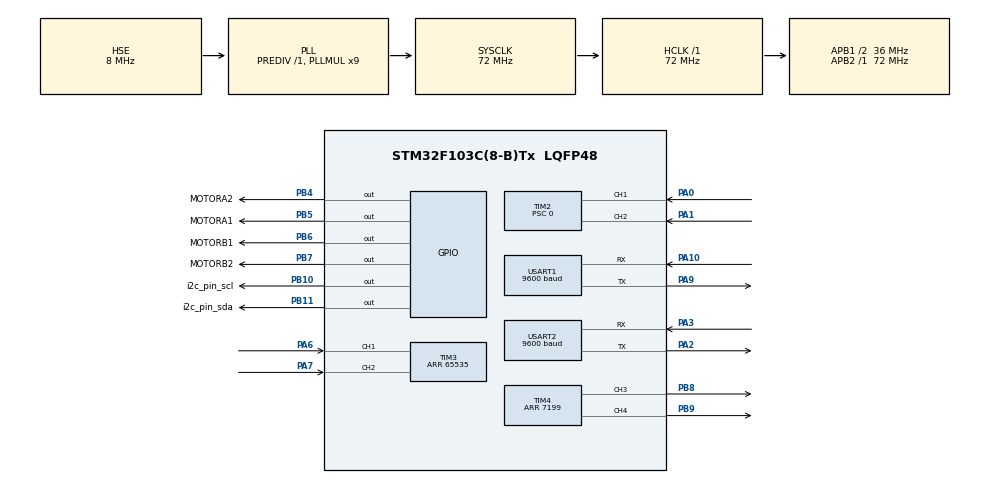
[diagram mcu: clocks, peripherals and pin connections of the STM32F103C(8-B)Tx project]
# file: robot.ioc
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Dma.Request0=USART2_RX
Dma.Request1=USART2_TX
Dma.USART2_RX.0.Direction=DMA_PERIPH_TO_MEMORY
Dma.USART2_RX.0.Instance=DMA1_Channel6
Dma.USART2_RX.0.MemDataAlignment=DMA_MDATAALIGN_BYTE
Dma.USART2_RX.0.MemInc=DMA_MINC_ENABLE
Dma.USART2_RX.0.Mode=DMA_NORMAL
Dma.USART2_RX.0.PeriphDataAlignment=DMA_PDATAALIGN_BYTE
Dma.USART2_RX.0.PeriphInc=DMA_PINC_DISABLE
Dma.USART2_RX.0.Priority=DMA_PRIORITY_LOW
Dma.USART2_TX.1.Direction=DMA_MEMORY_TO_PERIPH
Dma.USART2_TX.1.Instance=DMA1_Channel7
Dma.USART2_TX.1.MemDataAlignment=DMA_MDATAALIGN_BYTE
Dma.USART2_TX.1.MemInc=DMA_MINC_ENABLE
Dma.USART2_TX.1.Mode=DMA_NORMAL
Dma.USART2_TX.1.PeriphDataAlignment=DMA_PDATAALIGN_BYTE
Dma.USART2_TX.1.PeriphInc=DMA_PINC_DISABLE
Dma.USART2_TX.1.Priority=DMA_PRIORITY_LOW
Mcu.Family=STM32F1
Mcu.Name=STM32F103C(8-B)Tx
Mcu.Package=LQFP48
NVIC.DMA1_Channel6_IRQn=true\:0\:0\:false\:false\:true\:false
NVIC.DMA1_Channel7_IRQn=true\:0\:0\:false\:false\:true\:false
NVIC.PriorityGroup=NVIC_PRIORITYGROUP_4
NVIC.USART1_IRQn=true\:0\:0\:false\:false\:true\:true
NVIC.USART2_IRQn=true\:0\:0\:false\:false\:true\:true
PA0-WKUP.Signal=S_TIM2_CH1_ETR
PA1.Signal=S_TIM2_CH2
PA10.Mode=Asynchronous
PA10.Signal=USART1_RX
PA13.Mode=Trace_Asynchronous_SW
PA13.Signal=SYS_JTMS-SWDIO
PA14.Mode=Trace_Asynchronous_SW
PA14.Signal=SYS_JTCK-SWCLK
PA2.Mode=Asynchronous
PA2.Signal=USART2_TX
PA3.Mode=Asynchronous
PA3.Signal=USART2_RX
PA6.Signal=S_TIM3_CH1
PA7.Signal=S_TIM3_CH2
PA9.Mode=Asynchronous
PA9.Signal=USART1_TX
PB10.GPIO_Label=i2c_pin_scl
PB10.GPIO_ModeDefaultOutputPP=GPIO_MODE_OUTPUT_OD
PB10.GPIO_Speed=GPIO_SPEED_FREQ_HIGH
PB10.Signal=GPIO_Output
PB11.GPIO_Label=i2c_pin_sda
PB11.GPIO_ModeDefaultOutputPP=GPIO_MODE_OUTPUT_OD
PB11.GPIO_Speed=GPIO_SPEED_FREQ_HIGH
PB11.Signal=GPIO_Output
PB3.Mode=Trace_Asynchronous_SW
PB3.Signal=SYS_JTDO-TRACESWO
PB4.GPIO_Label=MOTORA2
PB4.GPIO_Speed=GPIO_SPEED_FREQ_HIGH
PB4.Signal=GPIO_Output
PB5.GPIO_Label=MOTORA1
PB5.GPIO_Speed=GPIO_SPEED_FREQ_HIGH
PB5.Signal=GPIO_Output
PB6.GPIO_Label=MOTORB1
PB6.GPIO_Speed=GPIO_SPEED_FREQ_HIGH
PB6.Signal=GPIO_Output
PB7.GPIO_Label=MOTORB2
PB7.GPIO_Speed=GPIO_SPEED_FREQ_HIGH
PB7.Signal=GPIO_Output
PB8.Signal=S_TIM4_CH3
PB9.Signal=S_TIM4_CH4
PD0-OSC_IN.Mode=HSE-External-Oscillator
PD0-OSC_IN.Signal=RCC_OSC_IN
PD1-OSC_OUT.Mode=HSE-External-Oscillator
PD1-OSC_OUT.Signal=RCC_OSC_OUT
ProjectManager.HeapSize=0x200
ProjectManager.StackSize=0x400
ProjectManager.TargetToolchain=MDK-ARM V5
RCC.AHBFreq_Value=72000000
RCC.APB1CLKDivider=RCC_HCLK_DIV2
RCC.APB1Freq_Value=36000000
RCC.APB1TimFreq_Value=72000000
RCC.APB2Freq_Value=72000000
RCC.APB2TimFreq_Value=72000000
RCC.HCLKFreq_Value=72000000
RCC.PLLMUL=RCC_PLL_MUL9
RCC.PLLSourceVirtual=RCC_PLLSOURCE_HSE
RCC.SYSCLKFreq_VALUE=72000000
RCC.SYSCLKSource=RCC_SYSCLKSOURCE_PLLCLK
RCC.USBFreq_Value=72000000
SH.S_TIM2_CH1_ETR.0=TIM2_CH1,Encoder_Interface
SH.S_TIM2_CH2.0=TIM2_CH2,Encoder_Interface
SH.S_TIM3_CH1.0=TIM3_CH1,Encoder_Interface
SH.S_TIM3_CH2.0=TIM3_CH2,Encoder_Interface
SH.S_TIM4_CH3.0=TIM4_CH3,PWM Generation3 CH3
SH.S_TIM4_CH4.0=TIM4_CH4,PWM Generation4 CH4
TIM2.EncoderMode=TIM_ENCODERMODE_TI12
TIM2.Period=65535
TIM2.Prescaler=0
TIM3.EncoderMode=TIM_ENCODERMODE_TI12
TIM3.Period=65535
TIM4.Channel-PWM\ Generation3\ CH3=TIM_CHANNEL_3
TIM4.Channel-PWM\ Generation4\ CH4=TIM_CHANNEL_4
TIM4.Period=7199
USART1.BaudRate=9600
USART1.VirtualMode=VM_ASYNC
USART2.BaudRate=9600
USART2.VirtualMode=VM_ASYNC
board=robot

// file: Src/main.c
/**
  ******************************************************************************
  * @file           : main.c
  * @brief          : Main program body
  ******************************************************************************
  ** This notice applies to any and all portions of this file
  * that are not between comment pairs USER CODE BEGIN and
  * USER CODE END. Other portions of this file, whether
  * inserted by the user or by software development tools
  * are owned by their respective copyright owners.
  *
  * COPYRIGHT(c) 2018 STMicroelectronics
  *
  * Redistribution and use in source and binary forms, with or without modification,
  * are permitted provided that the following conditions are met:
  *   1. Redistributions of source code must retain the above copyright notice,
  *      this list of conditions and the following disclaimer.
  *   2. Redistributions in binary form must reproduce the above copyright notice,
  *      this list of conditions and the following disclaimer in the documentation
  *      and/or other materials provided with the distribution.
  *   3. Neither the name of STMicroelectronics nor the names of its contributors
  *      may be used to endorse or promote products derived from this software
  *      without specific prior written permission.
  *
  * THIS SOFTWARE IS PROVIDED BY THE COPYRIGHT HOLDERS AND CONTRIBUTORS "AS IS"
  * AND ANY EXPRESS OR IMPLIED WARRANTIES, INCLUDING, BUT NOT LIMITED TO, THE
  * IMPLIED WARRANTIES OF MERCHANTABILITY AND FITNESS FOR A PARTICULAR PURPOSE ARE
  * DISCLAIMED. IN NO EVENT SHALL THE COPYRIGHT HOLDER OR CONTRIBUTORS BE LIABLE
  * FOR ANY DIRECT, INDIRECT, INCIDENTAL, SPECIAL, EXEMPLARY, OR CONSEQUENTIAL
  * DAMAGES (INCLUDING, BUT NOT LIMITED TO, PROCUREMENT OF SUBSTITUTE GOODS OR
  * SERVICES; LOSS OF USE, DATA, OR PROFITS; OR BUSINESS INTERRUPTION) HOWEVER
  * CAUSED AND ON ANY THEORY OF LIABILITY, WHETHER IN CONTRACT, STRICT LIABILITY,
  * OR TORT (INCLUDING NEGLIGENCE OR OTHERWISE) ARISING IN ANY WAY OUT OF THE USE
  * OF THIS SOFTWARE, EVEN IF ADVISED OF THE POSSIBILITY OF SUCH DAMAGE.
  *
  ******************************************************************************
  */
#include "main.h"
#include "stm32f1xx_hal.h"
#include "dma.h"
#include "tim.h"
#include "usart.h"
#include "gpio.h"

/* USER CODE BEGIN Includes */
#include "../modules/scheduler/scheduler.h"
#include "../modules/datalink/datalink.h"
#include "../modules/encoder/encoder.h"
#include "../modules/control_velocity/control_velocity.h"
/* USER CODE END Includes */

/* USER CODE BEGIN PV */
/* Private variables ---------------------------------------------------------*/

struct  task _task[3] =
{
	SCHED_TASK_CLASS(encoder_main,		  				100,				10),
	SCHED_TASK_CLASS(datalink_main,		  				10,					10),
	SCHED_TASK_CLASS(control_velocity_main,		  100,				10)

};

static const uint8_t _task_num = 3;

/* USER CODE END PV */

void SystemClock_Config(void);

/* USER CODE BEGIN PFP */
/* Private function prototypes -----------------------------------------------*/
void setup();
/* USER CODE END PFP */

int main(void)
{

  /* MCU Configuration----------------------------------------------------------*/

  /* Reset of all peripherals, Initializes the Flash interface and the Systick. */
  HAL_Init();

  /* Configure the system clock */
  SystemClock_Config();

  /* Initialize all configured peripherals */
  MX_GPIO_Init();
  MX_DMA_Init();
  MX_TIM2_Init();
  MX_TIM3_Init();
  MX_TIM4_Init();
  MX_USART1_UART_Init();
  MX_USART2_UART_Init();
  /* USER CODE BEGIN 2 */
	setup();
  /* USER CODE END 2 */

  /* Infinite loop */
  while (1)
  {
		scheduler_run();
  }

}

void SystemClock_Config(void)
{

  RCC_OscInitTypeDef RCC_OscInitStruct;
  RCC_ClkInitTypeDef RCC_ClkInitStruct;

    /**Initializes the CPU, AHB and APB busses clocks
    */
  RCC_OscInitStruct.OscillatorType = RCC_OSCILLATORTYPE_HSE;
  RCC_OscInitStruct.HSEState = RCC_HSE_ON;
  RCC_OscInitStruct.HSEPredivValue = RCC_HSE_PREDIV_DIV1;
  RCC_OscInitStruct.HSIState = RCC_HSI_ON;
  RCC_OscInitStruct.PLL.PLLState = RCC_PLL_ON;
  RCC_OscInitStruct.PLL.PLLSource = RCC_PLLSOURCE_HSE;
  RCC_OscInitStruct.PLL.PLLMUL = RCC_PLL_MUL9;
  if (HAL_RCC_OscConfig(&RCC_OscInitStruct) != HAL_OK)
  {
    _Error_Handler(__FILE__, __LINE__);
  }

    /**Initializes the CPU, AHB and APB busses clocks
    */
  RCC_ClkInitStruct.ClockType = RCC_CLOCKTYPE_HCLK|RCC_CLOCKTYPE_SYSCLK
                              |RCC_CLOCKTYPE_PCLK1|RCC_CLOCKTYPE_PCLK2;
  RCC_ClkInitStruct.SYSCLKSource = RCC_SYSCLKSOURCE_PLLCLK;
  RCC_ClkInitStruct.AHBCLKDivider = RCC_SYSCLK_DIV1;
  RCC_ClkInitStruct.APB1CLKDivider = RCC_HCLK_DIV2;
  RCC_ClkInitStruct.APB2CLKDivider = RCC_HCLK_DIV1;

  if (HAL_RCC_ClockConfig(&RCC_ClkInitStruct, FLASH_LATENCY_2) != HAL_OK)
  {
    _Error_Handler(__FILE__, __LINE__);
  }

    /**Configure the Systick interrupt time
    */
  HAL_SYSTICK_Config(HAL_RCC_GetHCLKFreq()/1000);

    /**Configure the Systick
    */
  HAL_SYSTICK_CLKSourceConfig(SYSTICK_CLKSOURCE_HCLK);

  /* SysTick_IRQn interrupt configuration */
  HAL_NVIC_SetPriority(SysTick_IRQn, 0, 0);
}

/* USER CODE BEGIN 4 */

void setup()
{
	initialize_scheduler(_task, _task_num);
	initialize_motors();
	initialize_encoder();
	initlialze_datalink();
}

/* USER CODE END 4 */

void _Error_Handler(char *file, int line)
{
  while(1)
  {
  }
}

/************************ (C) COPYRIGHT STMicroelectronics *****END OF FILE****/
